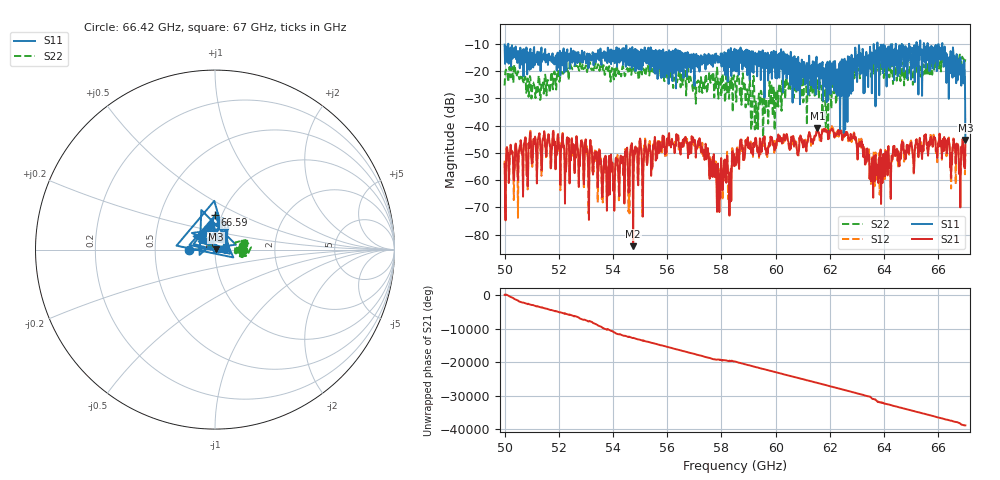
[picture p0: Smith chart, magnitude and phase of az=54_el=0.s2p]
!Created with skrf (http://scikit-rf.org).
# GHz S RI R 50.0
!freq ReS11 ImS11 ReS21 ImS21 ReS12 ImS12 ReS22 ImS22
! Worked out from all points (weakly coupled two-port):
!   1001 points, 50 GHz to 67 GHz, reference 50 ohm
!   highest |S21| = -40.93 dB at 61.54 GHz (marker M1); lowest = -84.3 dB at 54.74 GHz (marker M2)
!   lowest |S11| = -45.3 dB at 67 GHz (marker M3), VSWR 1.01, Z = 50.5 + j0.0954 ohm
!   |S11| at or under -10 dB: 50.14 GHz to 63.75 GHz (13.62 GHz wide, 23.9 % of centre); 63.76 GHz to 64.43 GHz (677.9 MHz wide, 1.06 % of centre); 66.15 GHz to end of sweep (the widest 3 of 10)
!   |S22| runs from -47.9 to -13.9 dB; largest |S21 - S12| = 0.0024
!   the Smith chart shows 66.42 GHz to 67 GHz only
!   S11 on the Smith chart (normalised r, x): 66.42 GHz: 0.74, -0.01; 66.59 GHz: 0.93, +0.37; 67 GHz: 1.01, +0.00
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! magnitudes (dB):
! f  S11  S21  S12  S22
! 50 GHz  -10.3  -54.0  -52.9  -25.3
! 51.55 GHz  -14.1  -51.1  -51.4  -28.9
! 52.84 GHz  -14.2  -47.2  -46.0  -19.2
! 53.83 GHz  -13.0  -55.3  -54.9  -20.7
! 54.74 GHz  -18.3  -84.3  -60.2  -18.7
! 55.68 GHz  -13.7  -49.5  -48.8  -22.0
! 57.21 GHz  -17.0  -45.7  -47.0  -25.6
! 57.89 GHz  -14.6  -56.7  -66.1  -30.1
! 58.14 GHz  -21.5  -58.8  -54.1  -31.4
! 58.31 GHz  -18.5  -59.6  -62.7  -23.5
! 58.5 GHz  -19.9  -51.6  -52.0  -24.2
! 59.32 GHz  -21.9  -48.6  -47.1  -33.5
! 61.34 GHz  -24.3  -45.1  -46.0  -25.6
! 61.54 GHz  -21.6  -40.9  -41.9  -23.4
! 62.56 GHz  -41.5  -43.8  -43.7  -19.7
! 63.57 GHz  -13.4  -52.0  -52.2  -16.8
! 64.18 GHz  -18.3  -52.8  -52.3  -18.7
! 65.79 GHz  -14.1  -47.8  -46.6  -17.5
! 66.42 GHz  -16.6  -48.1  -49.7  -16.1
! 66.59 GHz  -14.4  -48.2  -48.1  -16.0
! 66.9 GHz  -17.6  -44.9  -45.4  -15.1
! 67 GHz  -45.3  -47.1  -50.4  -15.7
